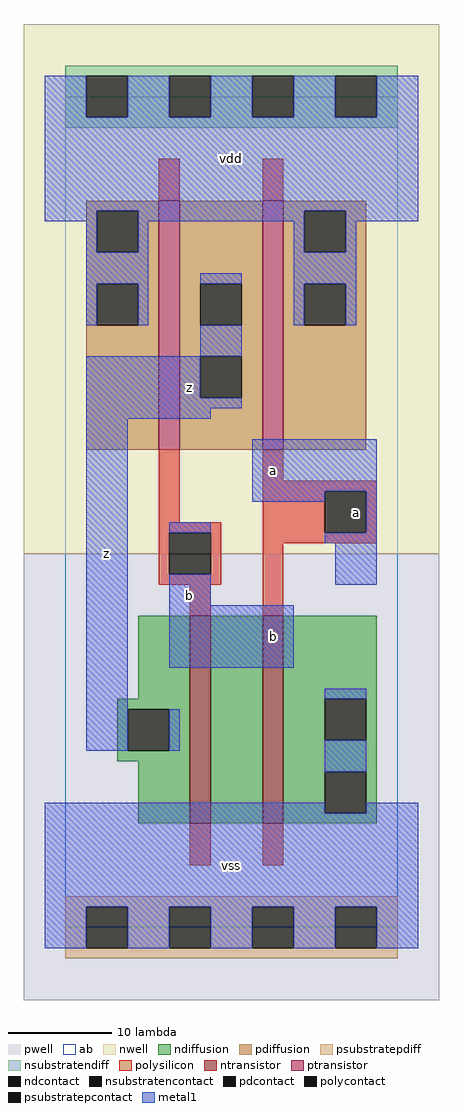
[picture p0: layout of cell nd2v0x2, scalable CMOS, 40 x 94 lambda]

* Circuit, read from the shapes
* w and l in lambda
.subckt nd2v0x2 a b vdd vss z
M1 n1 b z vss nfet w=20 l=2
M2 vss a n1 vss nfet w=20 l=2
M3 z b vdd vdd pfet w=24 l=2
M4 vdd a z vdd pfet w=24 l=2
.ends

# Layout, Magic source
magic
tech scmos
<< ab >>
rect 0 0 32 80
<< pwell >>
rect -4 -7 36 36
<< nwell >>
rect -4 36 36 87
<< polysilicon >>
rect 9 70 11 74
rect 19 70 21 74
rect 9 39 11 46
rect 19 43 21 46
rect 19 42 30 43
rect 9 38 15 39
rect 9 34 10 38
rect 14 34 15 38
rect 9 33 15 34
rect 19 38 25 42
rect 29 38 30 42
rect 19 37 30 38
rect 12 30 14 33
rect 19 30 21 37
rect 12 6 14 10
rect 19 6 21 10
<< ndiffusion >>
rect 7 22 12 30
rect 5 21 12 22
rect 5 17 6 21
rect 10 17 12 21
rect 5 16 12 17
rect 7 10 12 16
rect 14 10 19 30
rect 21 22 30 30
rect 21 18 25 22
rect 29 18 30 22
rect 21 15 30 18
rect 21 11 25 15
rect 29 11 30 15
rect 21 10 30 11
<< pdiffusion >>
rect 2 69 9 70
rect 2 65 3 69
rect 7 65 9 69
rect 2 62 9 65
rect 2 58 3 62
rect 7 58 9 62
rect 2 46 9 58
rect 11 62 19 70
rect 11 58 13 62
rect 17 58 19 62
rect 11 55 19 58
rect 11 51 13 55
rect 17 51 19 55
rect 11 46 19 51
rect 21 69 29 70
rect 21 65 23 69
rect 27 65 29 69
rect 21 62 29 65
rect 21 58 23 62
rect 27 58 29 62
rect 21 46 29 58
<< metal1 >>
rect -2 78 2 82
rect 6 78 10 82
rect 14 78 18 82
rect 22 78 26 82
rect 30 78 34 82
rect -2 69 34 78
rect -2 68 3 69
rect 2 65 3 68
rect 7 68 23 69
rect 7 65 8 68
rect 2 62 8 65
rect 22 65 23 68
rect 27 68 34 69
rect 27 65 28 68
rect 2 58 3 62
rect 7 58 8 62
rect 13 62 17 63
rect 22 62 28 65
rect 22 58 23 62
rect 27 58 28 62
rect 13 55 17 58
rect 2 51 13 55
rect 2 50 17 51
rect 2 49 14 50
rect 2 17 6 49
rect 18 42 30 47
rect 18 41 25 42
rect 10 38 14 39
rect 29 38 30 42
rect 25 37 30 38
rect 10 31 14 34
rect 26 33 30 37
rect 10 25 22 31
rect 25 22 29 23
rect 10 17 11 21
rect 25 15 29 18
rect -2 11 25 12
rect 29 11 34 12
rect -2 2 34 11
rect -2 -2 2 2
rect 6 -2 10 2
rect 14 -2 18 2
rect 22 -2 26 2
rect 30 -2 34 2
<< ntransistor >>
rect 12 10 14 30
rect 19 10 21 30
<< ptransistor >>
rect 9 46 11 70
rect 19 46 21 70
<< polycontact >>
rect 10 34 14 38
rect 25 38 29 42
<< ndcontact >>
rect 6 17 10 21
rect 25 18 29 22
rect 25 11 29 15
<< pdcontact >>
rect 3 65 7 69
rect 3 58 7 62
rect 13 58 17 62
rect 13 51 17 55
rect 23 65 27 69
rect 23 58 27 62
<< psubstratepcontact >>
rect 2 -2 6 2
rect 10 -2 14 2
rect 18 -2 22 2
rect 26 -2 30 2
<< nsubstratencontact >>
rect 2 78 6 82
rect 10 78 14 82
rect 18 78 22 82
rect 26 78 30 82
<< psubstratepdiff >>
rect 0 2 32 3
rect 0 -2 2 2
rect 6 -2 10 2
rect 14 -2 18 2
rect 22 -2 26 2
rect 30 -2 32 2
rect 0 -3 32 -2
<< nsubstratendiff >>
rect 0 82 32 83
rect 0 78 2 82
rect 6 78 10 82
rect 14 78 18 82
rect 22 78 26 82
rect 30 78 32 82
rect 0 77 32 78
<< labels >>
rlabel metal1 4 36 4 36 6 z
rlabel metal1 12 32 12 32 6 b
rlabel metal1 12 52 12 52 6 z
rlabel metal1 16 6 16 6 6 vss
rlabel metal1 20 28 20 28 6 b
rlabel metal1 20 44 20 44 6 a
rlabel metal1 16 74 16 74 6 vdd
rlabel polycontact 28 40 28 40 6 a
<< end >>
